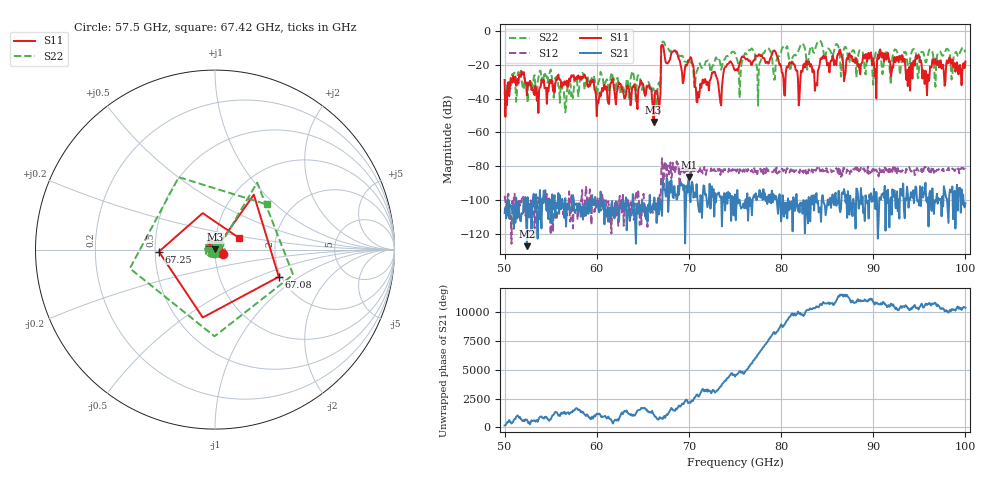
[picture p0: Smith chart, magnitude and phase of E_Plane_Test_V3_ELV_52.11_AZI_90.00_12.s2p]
! 11/26/2026 4:07:16 PM
! C:\ANRITSUVNA\TEMP\TEMP.S2P
! CHANNEL.1
! TR.MEASUREMENT
! RAW.DATA
# HZ S RI R 50.0
! FREQ.HZ  S11RE  S11IM  S21RE  S21IM  S12RE  S12IM  S22RE  S22IM
!; PortSelection: Port_12
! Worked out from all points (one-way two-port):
!   601 points, 50 GHz to 100 GHz, reference 50 ohm
!   highest |S21| = -86.42 dB at 70 GHz (marker M1); lowest = -127.4 dB at 52.42 GHz (marker M2)
!   lowest |S11| = -53.9 dB at 66.17 GHz (marker M3), VSWR 1.00, Z = 50.1 + j0.145 ohm
!   |S11| at or under -10 dB: start of sweep to 67 GHz; 67.25 GHz to end of sweep
!   |S22| runs from -48.2 to -5.6 dB; largest |S21 - S12| = 0.00017
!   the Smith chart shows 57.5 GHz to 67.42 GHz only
!   S11 on the Smith chart (normalised r, x): 57.5 GHz: 1.09, -0.05; 67.08 GHz: 1.94, -0.69; 67.25 GHz: 0.52, -0.01; 67.42 GHz: 1.29, +0.17
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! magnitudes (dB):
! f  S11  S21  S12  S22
! 50 GHz  -29.0  -107.7  -97.6  -35.8
! 52.42 GHz  -38.1  -127.4  -102.5  -31.6
! 57.5 GHz  -26.1  -99.7  -100.6  -34.7
! 58.42 GHz  -27.1  -104.0  -94.1  -24.7
! 60.17 GHz  -42.8  -104.4  -101.6  -30.4
! 66.17 GHz  -53.9  -105.5  -101.6  -34.0
! 66.67 GHz  -41.5  -98.8  -105.3  -31.7
! 67.08 GHz  -8.3  -109.5  -75.3  -6.8
! 67.25 GHz  -10.1  -91.8  -92.0  -6.3
! 67.42 GHz  -16.6  -94.5  -77.2  -8.3
! 70 GHz  -17.3  -86.4  -83.8  -16.5
! 70.92 GHz  -42.3  -98.7  -82.2  -23.0
! 75 GHz  -23.3  -96.8  -82.0  -13.0
! 78.58 GHz  -19.2  -98.5  -82.1  -10.1
! 79.25 GHz  -11.5  -99.3  -82.1  -28.8
! 80.25 GHz  -27.9  -105.9  -83.1  -9.3
! 83.42 GHz  -24.5  -102.7  -82.5  -10.8
! 91.67 GHz  -16.7  -102.2  -83.7  -15.2
! 93.75 GHz  -32.6  -96.1  -82.5  -21.4
! 94.83 GHz  -15.0  -101.1  -82.2  -27.9
! 95.83 GHz  -38.0  -101.5  -82.0  -16.5
! 100 GHz  -18.0  -102.0  -81.2  -12.6
